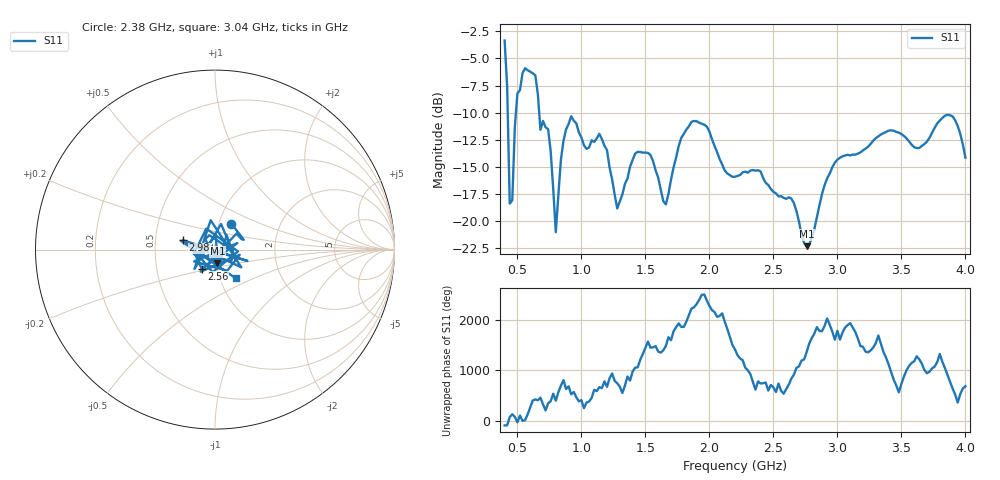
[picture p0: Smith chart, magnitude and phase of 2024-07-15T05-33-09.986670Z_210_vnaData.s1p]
!Created with skrf (http://scikit-rf.org).
# Hz S RI R 50.0
!freq ReS11 ImS11
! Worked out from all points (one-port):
!   181 points, 400 MHz to 4 GHz, reference 50 ohm
!   lowest |S11| = -22.3 dB at 2.76 GHz (marker M1), VSWR 1.17, Z = 50.8 - j7.7 ohm
!   |S11| at or under -10 dB: 424.4 MHz to 488.4 MHz (64 MHz wide, 14 % of centre); 670.2 MHz to end of sweep
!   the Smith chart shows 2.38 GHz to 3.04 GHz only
!   S11 on the Smith chart (normalised r, x): 2.38 GHz: 1.15, +0.34; 2.56 GHz: 0.84, -0.18; 2.98 GHz: 0.69, +0.08; 3.04 GHz: 1.19, -0.40
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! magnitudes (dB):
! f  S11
! 400 MHz  -3.3
! 420 MHz  -7.6
! 440 MHz  -18.4
! 460 MHz  -18.1
! 500 MHz  -8.2
! 560 MHz  -5.9
! 740 MHz  -11.5
! 800 MHz  -21.0
! 860 MHz  -12.6
! 920 MHz  -10.3
! 1.04 GHz  -13.3
! 1.14 GHz  -12.0
! 1.3 GHz  -18.2
! 1.44 GHz  -13.6
! 1.66 GHz  -18.5
! 1.76 GHz  -13.1
! 1.96 GHz  -11.1
! 2.2 GHz  -15.9
! 2.38 GHz  -15.3
! 2.56 GHz  -17.7
! 2.66 GHz  -18.3
! 2.76 GHz  -22.3
! 2.98 GHz  -14.6
! 3.04 GHz  -14.0
! 3.1 GHz  -14.0
! 3.56 GHz  -12.7
! 3.88 GHz  -10.2
! 4 GHz  -14.2
